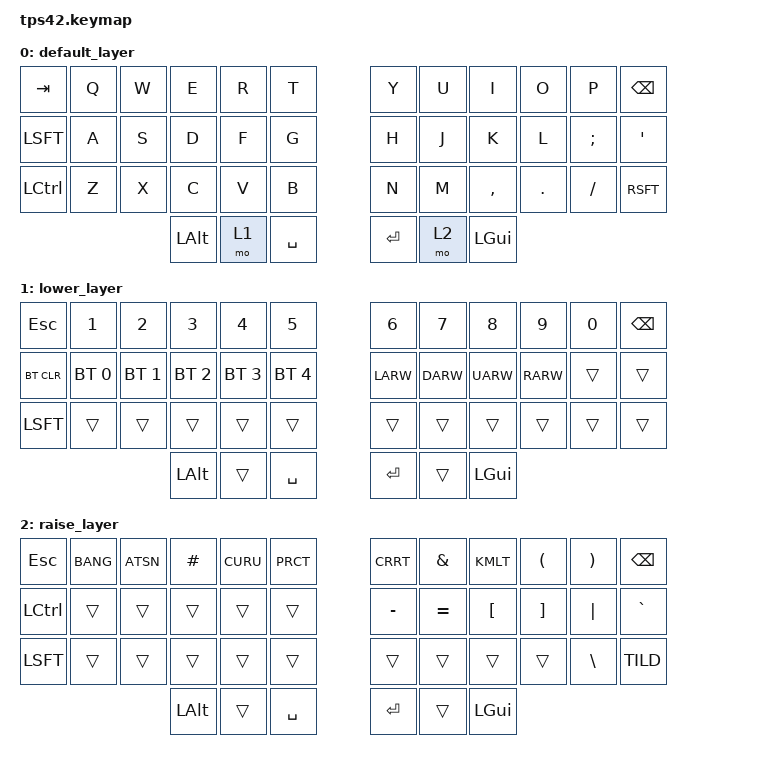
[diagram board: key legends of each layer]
/*
 * Copyright (c) 2020 Christoph Rehmann
 *
 * SPDX-License-Identifier: MIT
 */

#include <behaviors.dtsi>
#include <dt-bindings/zmk/keys.h>
#include <dt-bindings/zmk/bt.h>

/ {
        keymap {
                compatible = "zmk,keymap";

                default_layer {
// |    TAB     |     Q     |     W     |     E     |     R     |     T     |           |  Y        |  U        |  I        |  O        |  P        | BKSP      |
// |    CTRL    |     A     |     S     |     D     |     F     |     G     |           |  H        |  J        |  K        |  L        |  ;        |  '        |
// |    SHFT    |     Z     |     X     |     C     |     V     |     B     |           |  N        |  M        |  ,        |  .        |  /        | SHFT      |
//                                      |    ALT    |    LWR    |    SPC    |           | ENT       | RSE       | GUI       |
                bindings = <
     &kp TAB     &kp Q       &kp W       &kp E       &kp R       &kp T                  &kp Y       &kp U       &kp I       &kp O       &kp P       &kp BKSP
     &kp LSFT    &kp A       &kp S       &kp D       &kp F       &kp G                  &kp H       &kp J       &kp K       &kp L       &kp SCLN    &kp QUOT
     &kp LCTL    &kp Z       &kp X       &kp C       &kp V       &kp B                  &kp N       &kp M       &kp CMMA    &kp DOT     &kp FSLH    &kp RSFT
                                         &kp LALT    &mo 1       &kp SPC                &kp RET     &mo 2       &kp LGUI
                                                                                                                           
                        >;
                };
                lower_layer {
// |     ESC    |     1         |     2     |     3     |     4     |     5     |       |     6     |     7     |     8     |     9     |     0     |   BKSP    |
// |    BTCLR   |    BT1        |    BT2    |    BT3    |    BT4    |    BT5    |       |    LFT    |    DWN    |     UP    |    RGT    |           |           |
// |    SHFT    |               |           |           |           |           |       |           |           |           |           |           |           |
//                                          |    ALT    |           |    SPC    |       |    ENT    |           |    GUI    |
                bindings = <
    &kp ESC       &kp NUM_1     &kp NUM_2    &kp NUM_3    &kp NUM_4    &kp NUM_5         &kp NUM_6  &kp NUM_7   &kp NUM_8    &kp NUM_9  &kp NUM_0    &kp BKSP
    &bt BT_CLR    &bt BT_SEL 0  &bt BT_SEL 1 &bt BT_SEL 2 &bt BT_SEL 3 &bt BT_SEL 4      &kp LARW   &kp DARW    &kp UARW     &kp RARW   &trans       &trans
    &kp LSFT      &trans        &trans       &trans       &trans       &trans            &trans     &trans      &trans       &trans     &trans       &trans
                                             &kp LALT     &trans       &kp SPC           &kp RET    &trans      &kp LGUI
                        >;
                };

                raise_layer {
// |  ESC       |     !      |     @     |      #       |    $     |      %     |       |     ^     |     &     |     *     |     (     |     )     |   BKSP    |
// | CTRL       |            |           |              |          |            |       |     -     |     =     |     {     |     }     |    "|"    |    `      |
// | SHFT       |            |           |              |          |            |       |     _     |     +     |     [     |     ]     |     \     |     ~     | 
//                                       |     ALT      |          |     SPC    |       |    ENT    |           |    GUI    |
                        bindings = <
    &kp  ESC    &kp BANG     &kp ATSN     &kp HASH      &kp CURU   &kp PRCT             &kp CRRT    &kp AMPS    &kp KMLT    &kp LPRN    &kp RPRN    &kp BKSP
    &kp LCTL    &trans       &trans       &trans        &trans     &trans               &kp MINUS   &kp EQL     &kp LBKT    &kp RBKT    &kp PIPE    &kp GRAV
    &kp LSFT    &trans       &trans       &trans        &trans     &trans               &trans      &trans      &trans      &trans      &kp BSLH    &kp TILD
                                          &kp LALT      &trans     &kp SPC              &kp RET     &trans      &kp LGUI
                        >;
                };
        };
}; 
